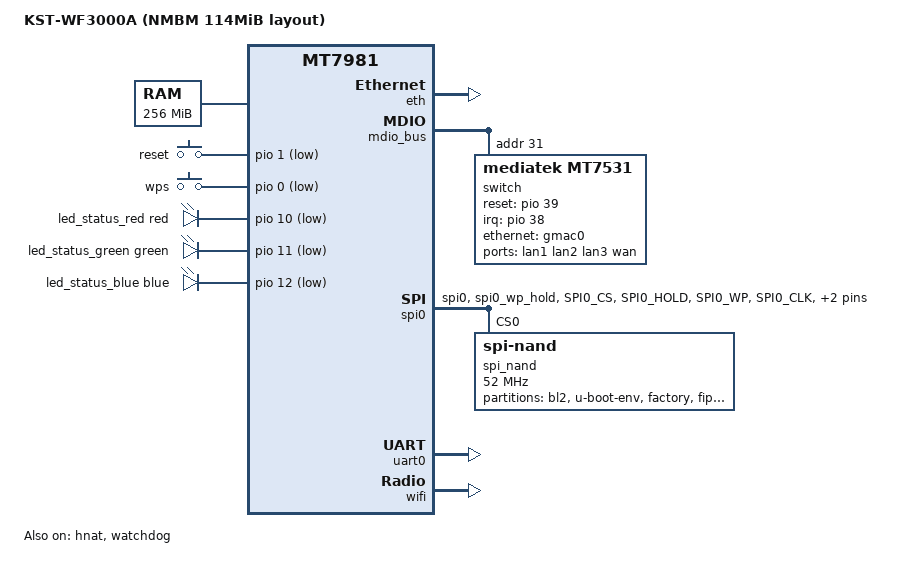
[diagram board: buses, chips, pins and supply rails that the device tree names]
// SPDX-License-Identifier: GPL-2.0-or-later OR MIT
/*
 * KST-WF3000A support ported to the MediaTek filogic / Linux 6.6 tree.
 * Original board description: Tianling Shen <cnsztl@immortalwrt.org>
 *
 * 本文件相对 Anser-y 原版只改了两处（均可搜 "CHANGED" 定位）：
 *   1) model / compatible 描述里的 248MiB -> 114MiB（纯文字，无功能影响）
 *   2) ubi 分区 reg 长度 0x0f280000 -> 0x07200000
 *   3) 在 factory 分区里补了一个 MAC 的 nvmem cell，并把 gmac0/gmac1 指向它
 *      —— 这是修「MAC 地址随机」的关键，原版 DTS 完全没有这段
 *
 * 第 3 点的偏移已实测确认 = 0x4（见文件末尾实测记录）。
 *      cat /proc/mtd                      # 确认 factory 对应哪个 mtd
 *      hexdump -C /dev/mtd2 | head -20    # (mtd2 换成实际的 factory)
 *    找到形如 xx:xx:xx:xx:xx:xx 连续排列的 6 字节，记下它的起始偏移，
 *    若你的机器实测到不同偏移，把 reg = <0x4 0x6> 里的 0x4 换掉。
 *
 * 分区校验：0x0580000 + 0x07200000 = 0x07780000 = 119.5 MiB，
 * 与 hanwckf 系 U-Boot 的 expand(114m) 布局
 *   nmbm0:1024k(bl2),512k(u-boot-env),2048k(factory),2048k(fip),116736k(ubi)
 * 完全对齐。
 *
 * ── MAC 实测结果（2026-10-15，已在实机上验证）──────────────
 * Factory 分区（mtd2）：
 *   0x4  ->  48:DA:35:50:70:F7
 *   0xa  ->  48:DA:35:50:70:F8
 * 机身标签           =  48:DA:35:50:70:F5
 *
 * 即 factory 里只有两个无线 MAC（F7 = 2.4G，F8 = 5G），
 * 以太网 MAC（F5 = LAN，F6 = WAN）不在这个分区里。
 *
 * 所以本文件里 gmac 绑定的 0x4 只能让内核先拿到一个「本机合法但不等于标签」
 * 的 MAC（F7）。最终 LAN/WAN 的 MAC 由 02_network 决定（会覆盖这里的值），
 * 建议按 02_network.snippet.txt 的「方案 A」硬编码成 F5 / F6。
 */

/dts-v1/;
#include <dt-bindings/gpio/gpio.h>
#include <dt-bindings/input/input.h>
#include <dt-bindings/leds/common.h>

#include "mt7981.dtsi"

/ {
	model = "KST-WF3000A (NMBM 114MiB layout)";   /* CHANGED */
	compatible = "kst,wf3000a", "mediatek,mt7981";

	aliases {
		serial0 = &uart0;
		led-boot = &led_status_red;
		led-failsafe = &led_status_red;
		led-running = &led_status_green;
		led-upgrade = &led_status_blue;
	};

	chosen {
		stdout-path = "serial0:115200n8";
	};

	memory {
		reg = <0 0x40000000 0 0x10000000>;   /* 256MB DDR3 */
	};

	gpio-keys {
		compatible = "gpio-keys";

		reset {
			label = "reset";
			linux,code = <KEY_RESTART>;
			gpios = <&pio 1 GPIO_ACTIVE_LOW>;
		};

		wps {
			label = "wps";
			linux,code = <KEY_WPS_BUTTON>;
			gpios = <&pio 0 GPIO_ACTIVE_LOW>;
		};
	};

	leds {
		compatible = "gpio-leds";

		led_status_red: red {
			function = LED_FUNCTION_STATUS;
			color = <LED_COLOR_ID_RED>;
			gpios = <&pio 10 GPIO_ACTIVE_LOW>;
		};

		led_status_green: green {
			function = LED_FUNCTION_STATUS;
			color = <LED_COLOR_ID_GREEN>;
			gpios = <&pio 11 GPIO_ACTIVE_LOW>;
		};

		led_status_blue: blue {
			function = LED_FUNCTION_STATUS;
			color = <LED_COLOR_ID_BLUE>;
			gpios = <&pio 12 GPIO_ACTIVE_LOW>;
		};
	};
};

&eth {
	status = "okay";

	gmac0: mac@0 {
		compatible = "mediatek,eth-mac";
		reg = <0>;
		phy-mode = "2500base-x";

		fixed-link {
			speed = <2500>;
			full-duplex;
			pause;
		};
	};

	gmac1: mac@1 {
		compatible = "mediatek,eth-mac";
		reg = <1>;
		phy-mode = "2500base-x";

		fixed-link {
			speed = <2500>;
			full-duplex;
			pause;
		};
	};
};

/* CHANGED: 新增 —— 给以太网口绑定 factory 里的 MAC，根治「MAC 随机」 */
&gmac0 {
	nvmem-cells = <&macaddr_factory_4>;
	nvmem-cell-names = "mac-address";
};

&gmac1 {
	nvmem-cells = <&macaddr_factory_4>;
	nvmem-cell-names = "mac-address";
	/* WAN 通常用 label_mac + 1；若你希望 WAN 与 LAN 同 MAC，删掉下面这行 */
	mac-address-increment = <1>;
};

&mdio_bus {
	switch: switch@1f {
		compatible = "mediatek,mt7531";
		reg = <31>;
		reset-gpios = <&pio 39 GPIO_ACTIVE_HIGH>;
		interrupt-controller;
		#interrupt-cells = <1>;
		interrupt-parent = <&pio>;
		interrupts = <38 IRQ_TYPE_LEVEL_HIGH>;
	};
};

&switch {
	ports {
		#address-cells = <1>;
		#size-cells = <0>;

		port@0 {
			reg = <0>;
			label = "lan1";
		};

		port@1 {
			reg = <1>;
			label = "lan2";
		};

		port@2 {
			reg = <2>;
			label = "lan3";
		};

		port@3 {
			reg = <3>;
			label = "wan";
		};

		port@6 {
			reg = <6>;
			ethernet = <&gmac0>;
			phy-mode = "2500base-x";

			fixed-link {
				speed = <2500>;
				full-duplex;
				pause;
			};
		};
	};
};

&hnat {
	mtketh-wan = "eth1";
	mtketh-lan = "lan";
	mtketh-ppd = "eth1";
	mtketh-max-gmac = <2>;
	status = "okay";
};

&spi0 {
	pinctrl-names = "default";
	pinctrl-0 = <&spi0_flash_pins>;
	status = "okay";

	spi_nand: spi_nand@0 {
		compatible = "spi-nand";
		#address-cells = <1>;
		#size-cells = <1>;
		reg = <0>;
		spi-max-frequency = <52000000>;
		spi-tx-bus-width = <4>;
		spi-rx-bus-width = <4>;

		mediatek,nmbm;
		mediatek,bmt-max-ratio = <1>;
		mediatek,bmt-max-reserved-blocks = <64>;

		spi-cal-enable;
		spi-cal-mode = "read-data";
		spi-cal-datalen = <7>;
		spi-cal-data = /bits/ 8 <0x53 0x50 0x49 0x4e 0x41 0x4e 0x44>;
		spi-cal-addrlen = <5>;
		spi-cal-addr = /bits/ 32 <0x0 0x0 0x0 0x0 0x0>;

		partitions {
			compatible = "fixed-partitions";
			#address-cells = <1>;
			#size-cells = <1>;

			partition@0 {
				label = "bl2";
				reg = <0x0000000 0x0100000>;
				read-only;
			};

			partition@100000 {
				label = "u-boot-env";
				reg = <0x0100000 0x0080000>;
			};

			factory: partition@180000 {
				label = "factory";
				reg = <0x0180000 0x0200000>;
				read-only;

				/* CHANGED: 新增 —— MAC 地址 nvmem cell */
				compatible = "nvmem-cells";
				#address-cells = <1>;
				#size-cells = <1>;

				macaddr_factory_4: macaddr@4 {
					reg = <0x4 0x6>;   /* 实测：48:DA:35:50:70:F7 */
				};
			};

			partition@380000 {
				label = "fip";
				reg = <0x0380000 0x0200000>;
				read-only;
			};

			partition@580000 {
				label = "ubi";
				reg = <0x0580000 0x07200000>;   /* CHANGED: 原为 0x0f280000 (248MiB) */
			};
		};
	};
};

&pio {
	spi0_flash_pins: spi0-pins {
		mux {
			function = "spi";
			groups = "spi0", "spi0_wp_hold";
		};

		conf-pu {
			pins = "SPI0_CS", "SPI0_HOLD", "SPI0_WP";
			drive-strength = <8>;
			mediatek,pull-up-adv = <0>;
		};

		conf-pd {
			pins = "SPI0_CLK", "SPI0_MOSI", "SPI0_MISO";
			drive-strength = <8>;
			mediatek,pull-up-adv = <0>;
		};
	};
};

&uart0 {
	status = "okay";
};

&watchdog {
	status = "okay";
};

&wifi {
	status = "okay";
	mediatek,mtd-eeprom = <&factory 0x0>;
};
